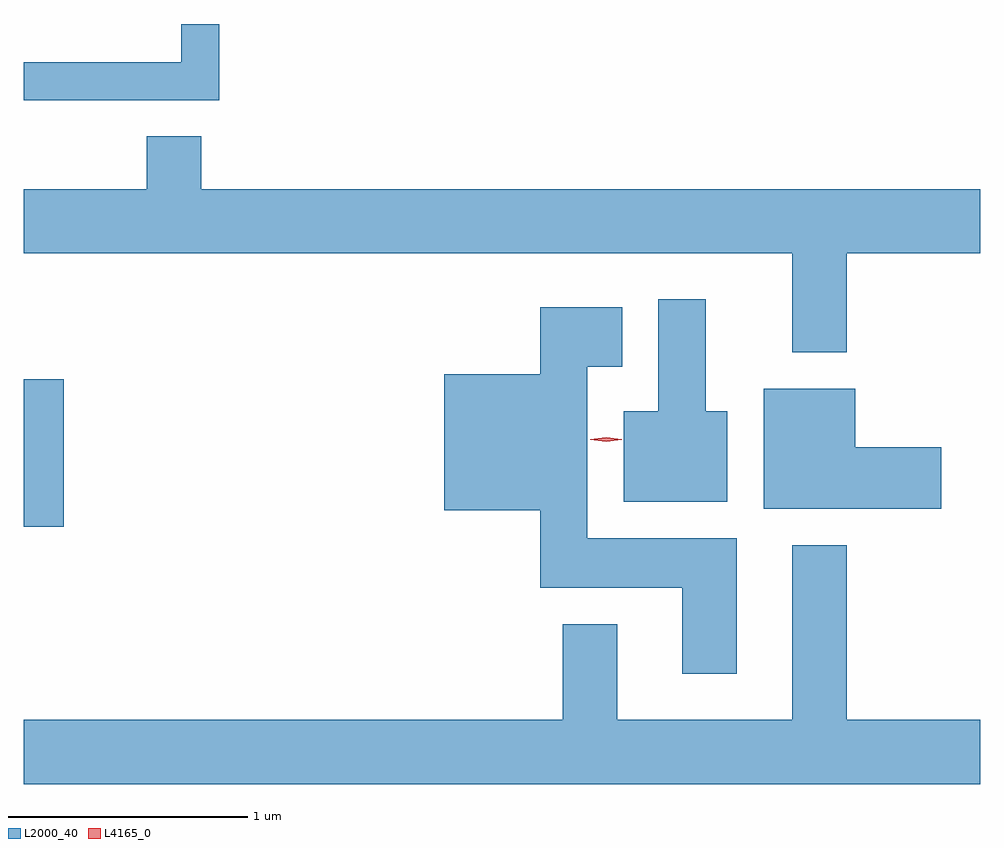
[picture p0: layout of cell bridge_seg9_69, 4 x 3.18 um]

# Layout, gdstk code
import gdstk
lib = gdstk.Library(unit=1e-6, precision=1e-09)
def R(c, l, rs):  # rectangles x0, y0, x1, y1
    for r in rs: c.add(gdstk.rectangle(r[:2], r[2:], *l))
def P(c, l, *ps):  # polygons
    for p in ps: c.add(gdstk.Polygon(p, *l))
L2000_40 = (2000, 40)
L4165_0 = (4165, 0)

bridge_seg9_69 = lib.new_cell('bridge_seg9_69')
R(bridge_seg9_69, L2000_40, [(1526.267,1972.911,1526.434,1973.529)])
P(bridge_seg9_69, L2000_40, [(1527.084,1975.014),(1526.926,1975.014),(1526.926,1974.854),(1526.267,1974.854),(1526.267,1974.696),(1527.084,1974.696)],
  [(1529.709,1974.056),(1530.267,1974.056),(1530.267,1974.324),(1527.009,1974.324),(1527.009,1974.544),(1526.781,1974.544),(1526.781,1974.324),(1526.267,1974.324),(1526.267,1974.056),(1529.481,1974.056),(1529.481,1973.641),(1529.709,1973.641)],
  [(1529.209,1973.394),(1529.119,1973.394),(1529.119,1973.864),(1528.921,1973.864),(1528.921,1973.394),(1528.776,1973.394),(1528.776,1973.016),(1529.209,1973.016)],
  [(1529.249,1972.864),(1528.624,1972.864),(1528.624,1973.581),(1528.769,1973.581),(1528.769,1973.829),(1528.426,1973.829),(1528.426,1973.549),(1528.026,1973.549),(1528.026,1972.981),(1528.426,1972.981),(1528.426,1972.656),(1529.021,1972.656),(1529.021,1972.296),(1529.249,1972.296)],
  [(1530.104,1973.244),(1529.744,1973.244),(1529.744,1973.489),(1529.361,1973.489),(1529.361,1972.986),(1530.104,1972.986)],
  [(1530.267,1972.104),(1529.709,1972.104),(1529.709,1972.834),(1529.481,1972.834),(1529.481,1972.104),(1528.749,1972.104),(1528.749,1972.504),(1528.521,1972.504),(1528.521,1972.104),(1526.267,1972.104),(1526.267,1971.836),(1530.267,1971.836)])
P(bridge_seg9_69, L4165_0, [(1528.702,1973.267),(1528.636,1973.276),(1528.636,1973.277),(1528.636,1973.277),(1528.702,1973.287),(1528.768,1973.277),(1528.768,1973.277),(1528.768,1973.276)])

lib.write_gds('bridge_seg9_69.gds')
